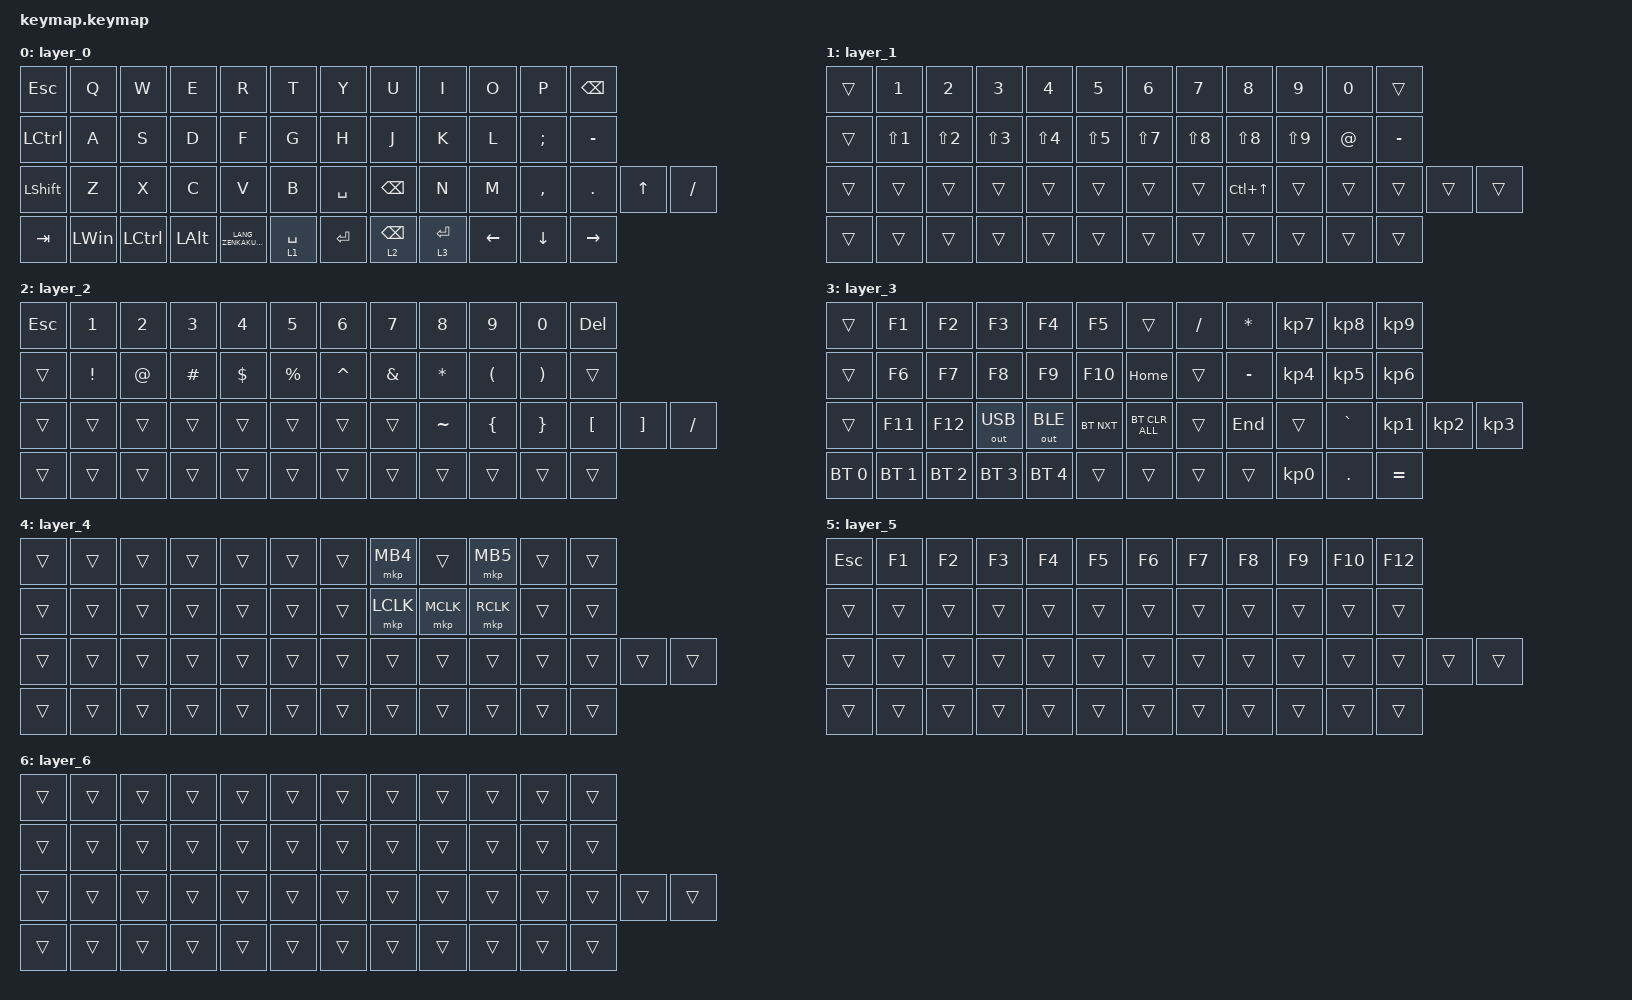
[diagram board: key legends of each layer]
#include <behaviors.dtsi>
#include <dt-bindings/zmk/bt.h>
#include <dt-bindings/zmk/keys.h>
#include <dt-bindings/zmk/outputs.h>
#include <dt-bindings/zmk/pointing.h>

/ {
    combos {
        compatible = "zmk,combos";

        bt_clear {
            bindings = <&bt BT_CLR>;
            key-positions = <28 29>;
            layers = <2>;
        };

        MouseLeftClick {
            bindings = <&mkp MB1>;
            key-positions = <19 20>;
        };

        MouseMiddleClick {
            bindings = <&mkp MB3>;
            key-positions = <19 21>;
        };

        MouseRightClick {
            bindings = <&mkp MB2>;
            key-positions = <20 21>;
        };

        MouseClickLeft2 {
            bindings = <&mkp LCLK>;
            key-positions = <42 18>;
        };

        MouseClickMiddle2 {
            bindings = <&mkp MCLK>;
            key-positions = <42 20>;
        };

        MouseClickRight2 {
            bindings = <&mkp RCLK>;
            key-positions = <42 21>;
        };
    };

    keymap {
        compatible = "zmk,keymap";

        layer_0 {
            bindings = <
&kp ESC    &kp Q         &kp W             &kp E     &kp R                    &kp T        &kp Y      &kp U            &kp I        &kp O           &kp P           &kp BSPC
&kp LCTRL  &kp A         &kp S             &kp D     &kp F                    &kp G        &kp H      &kp J            &kp K        &kp L           &kp SEMI        &kp MINUS
&kp LSHFT  &kp Z         &kp X             &kp C     &kp V                    &kp B        &kp SPACE  &kp BACKSPACE    &kp N        &kp M           &kp COMMA       &kp DOT          &kp UP_ARROW  &kp SLASH
&kp TAB    &kp LEFT_WIN  &kp LEFT_CONTROL  &kp LALT  &kp LANG_ZENKAKUHANKAKU  &lt 1 SPACE  &kp ENTER  &lt 2 BACKSPACE  &lt 3 ENTER  &kp LEFT_ARROW  &kp DOWN_ARROW  &kp RIGHT_ARROW
            >;
        };

        layer_1 {
            bindings = <
&trans  &kp NUMBER_1      &kp NUMBER_2      &kp NUMBER_3      &kp NUMBER_4      &kp N5      &kp NUMBER_6  &kp N7      &kp NUMBER_8      &kp N9      &kp N0       &trans
&trans  &kp LS(NUMBER_1)  &kp LS(NUMBER_2)  &kp LS(NUMBER_3)  &kp LS(NUMBER_4)  &kp LS(N5)  &kp LS(N7)    &kp LS(N8)  &kp LS(N8)        &kp LS(N9)  &kp AT_SIGN  &kp MINUS
&trans  &trans            &trans            &trans            &trans            &trans      &trans        &trans      &kp LC(UP_ARROW)  &trans      &trans       &trans     &trans  &trans
&trans  &trans            &trans            &trans            &trans            &trans      &trans        &trans      &trans            &trans      &trans       &trans
            >;
        };

        layer_2 {
            bindings = <
&kp ESCAPE  &kp N1    &kp N2  &kp N3    &kp N4      &kp N5     &kp N6     &kp N7         &kp N8     &kp N9                &kp N0                 &kp DELETE
&trans      &kp EXCL  &kp AT  &kp HASH  &kp DOLLAR  &kp PRCNT  &kp CARET  &kp AMPERSAND  &kp ASTRK  &kp LEFT_PARENTHESIS  &kp RIGHT_PARENTHESIS  &trans
&trans      &trans    &trans  &trans    &trans      &trans     &trans     &trans         &kp TILDE  &kp LEFT_BRACE        &kp RIGHT_BRACE        &kp LEFT_BRACKET  &kp RIGHT_BRACKET  &kp SLASH
&trans      &trans    &trans  &trans    &trans      &trans     &trans     &trans         &trans     &trans                &trans                 &trans
            >;
        };

        layer_3 {
            bindings = <
&trans        &kp F1        &kp F2        &kp F3        &kp F4        &kp F5      &trans          &kp FSLH  &kp ASTRK  &kp KP_NUMBER_7  &kp KP_NUMBER_8  &kp KP_NUMBER_9
&trans        &kp F6        &kp F7        &kp F8        &kp F9        &kp F10     &kp HOME        &trans    &kp MINUS  &kp KP_NUMBER_4  &kp KP_NUMBER_5  &kp KP_NUMBER_6
&trans        &kp F11       &kp F12       &out OUT_USB  &out OUT_BLE  &bt BT_NXT  &bt BT_CLR_ALL  &trans    &kp END    &trans           &kp GRAVE        &kp KP_NUMBER_1  &kp KP_NUMBER_2  &kp KP_NUMBER_3
&bt BT_SEL 0  &bt BT_SEL 1  &bt BT_SEL 2  &bt BT_SEL 3  &bt BT_SEL 4  &trans      &trans          &trans    &trans     &kp KP_NUMBER_0  &kp DOT          &kp EQUAL
            >;
        };

        layer_4 {
            bindings = <
&trans  &trans  &trans  &trans  &trans  &trans  &trans  &mkp MB4   &trans     &mkp MB5   &trans  &trans
&trans  &trans  &trans  &trans  &trans  &trans  &trans  &mkp LCLK  &mkp MCLK  &mkp RCLK  &trans  &trans
&trans  &trans  &trans  &trans  &trans  &trans  &trans  &trans     &trans     &trans     &trans  &trans  &trans  &trans
&trans  &trans  &trans  &trans  &trans  &trans  &trans  &trans     &trans     &trans     &trans  &trans
            >;
        };

        layer_5 {
            bindings = <
&kp ESC  &kp F1  &kp F2  &kp F3  &kp F4  &kp F5  &kp F6  &kp F7  &kp F8  &kp F9  &kp F10  &kp F12
&trans   &trans  &trans  &trans  &trans  &trans  &trans  &trans  &trans  &trans  &trans   &trans
&trans   &trans  &trans  &trans  &trans  &trans  &trans  &trans  &trans  &trans  &trans   &trans   &trans  &trans
&trans   &trans  &trans  &trans  &trans  &trans  &trans  &trans  &trans  &trans  &trans   &trans
            >;
        };

        layer_6 {
            bindings = <
&trans  &trans  &trans  &trans  &trans  &trans  &trans  &trans  &trans  &trans  &trans  &trans
&trans  &trans  &trans  &trans  &trans  &trans  &trans  &trans  &trans  &trans  &trans  &trans
&trans  &trans  &trans  &trans  &trans  &trans  &trans  &trans  &trans  &trans  &trans  &trans  &trans  &trans
&trans  &trans  &trans  &trans  &trans  &trans  &trans  &trans  &trans  &trans  &trans  &trans
            >;
        };
    };
};
